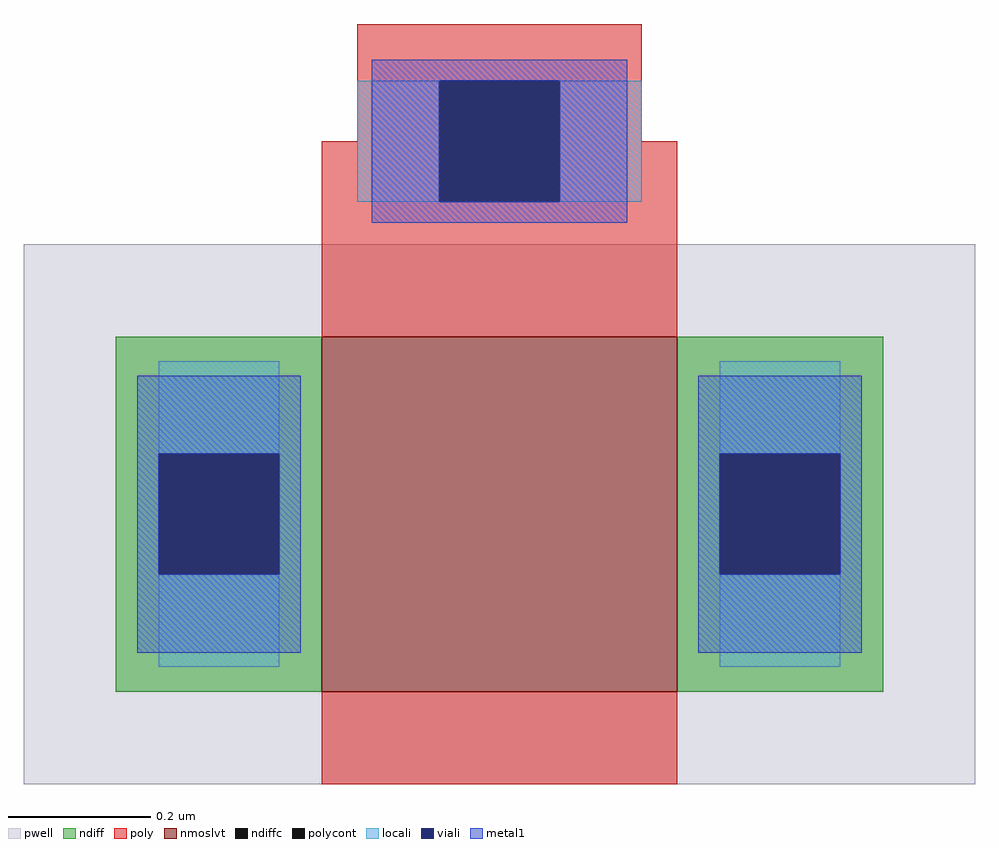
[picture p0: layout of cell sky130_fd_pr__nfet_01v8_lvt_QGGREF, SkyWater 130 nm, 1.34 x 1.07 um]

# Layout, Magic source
magic
tech sky130A
magscale 1 2
<< pwell >>
rect -134 -107 134 45
<< nmoslvt >>
rect -50 -81 50 19
<< ndiff >>
rect -108 -14 -50 19
rect -108 -48 -96 -14
rect -62 -48 -50 -14
rect -108 -81 -50 -48
rect 50 -14 108 19
rect 50 -48 62 -14
rect 96 -48 108 -14
rect 50 -81 108 -48
<< ndiffc >>
rect -96 -48 -62 -14
rect 62 -48 96 -14
<< poly >>
rect -40 91 40 107
rect -40 74 -17 91
rect -50 57 -17 74
rect 17 74 40 91
rect 17 57 50 74
rect -50 19 50 57
rect -50 -107 50 -81
<< polycont >>
rect -17 57 17 91
<< locali >>
rect -40 57 -17 91
rect 17 57 40 91
rect -96 -14 -62 12
rect -96 -74 -62 -48
rect 62 -14 96 12
rect 62 -74 96 -48
<< viali >>
rect -17 57 17 91
rect -96 -48 -62 -14
rect 62 -48 96 -14
<< metal1 >>
rect -36 91 36 97
rect -36 57 -17 91
rect 17 57 36 91
rect -36 51 36 57
rect -102 -14 -56 8
rect -102 -48 -96 -14
rect -62 -48 -56 -14
rect -102 -70 -56 -48
rect 56 -14 102 8
rect 56 -48 62 -14
rect 96 -48 102 -14
rect 56 -70 102 -48
<< end >>
